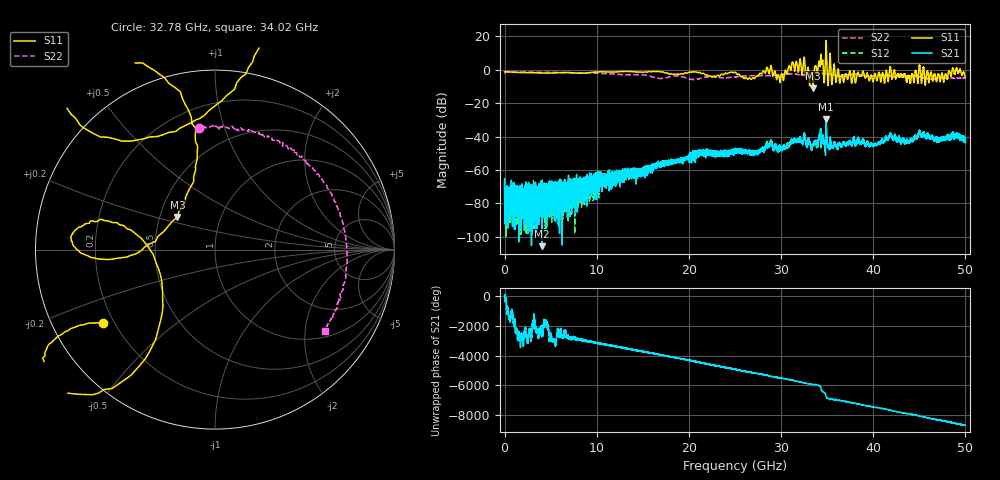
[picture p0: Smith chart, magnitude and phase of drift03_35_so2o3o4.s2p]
!Created with skrf (http://scikit-rf.org).
# Hz S RI R 50.0
!freq ReS11 ImS11 ReS21 ImS21 ReS12 ImS12 ReS22 ImS22
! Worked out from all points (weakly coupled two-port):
!   10001 points, 300 kHz to 50 GHz, reference 50 ohm
!   highest |S21| = -29.45 dB at 34.89 GHz (marker M1); lowest = -105.5 dB at 4.05 GHz (marker M2)
!   lowest |S11| = -11.2 dB at 33.47 GHz (marker M3), VSWR 1.77, Z = 30.9 + j12.1 ohm
!   |S11| at or under -10 dB: 33.44749 GHz to 33.48578 GHz (38.29 MHz wide, 0.114 % of centre)
!   |S22| runs from -5.9 to -1.3 dB; largest |S21 - S12| = 0.0082
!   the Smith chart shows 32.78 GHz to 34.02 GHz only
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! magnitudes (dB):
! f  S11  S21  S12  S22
! 300 kHz  -1.3  -65.6  -64.8  -2.1
! 285.3 MHz  -1.3  -80.1  -71.5  -1.4
! 4.05 GHz  -2.0  -105.5  -79.6  -1.6
! 8.335 GHz  -2.2  -65.8  -69.8  -1.9
! 16.67 GHz  -1.1  -54.6  -56.9  -5.2
! 25 GHz  -1.5  -48.2  -48.8  -4.3
! 26.92 GHz  -5.0  -49.8  -49.6  -3.6
! 28.72 GHz  -2.3  -46.3  -45.3  -3.6
! 30.06 GHz  -2.5  -47.5  -47.1  -2.8
! 31.87 GHz  -1.5  -42.4  -42.4  -2.9
! 33.34 GHz  -2.2  -47.3  -47.6  -2.9
! 33.47 GHz  -11.2  -44.5  -44.9  -2.8
! 34.3 GHz  7.3  -35.3  -35.1  -2.4
! 34.89 GHz  17.5  -29.5  -31.8  -2.3
! 36.58 GHz  -3.5  -46.1  -45.7  -3.6
! 40.16 GHz  -2.9  -44.7  -44.5  -3.7
! 41.67 GHz  -5.6  -40.7  -40.1  -3.7
! 43.65 GHz  -6.9  -42.4  -42.1  -4.0
! 45.2 GHz  -6.6  -39.7  -39.7  -4.5
! 47.06 GHz  -2.8  -42.5  -41.9  -5.1
! 49.21 GHz  -2.1  -39.5  -39.4  -5.1
! 50 GHz  -4.7  -43.2  -43.6  -5.0
